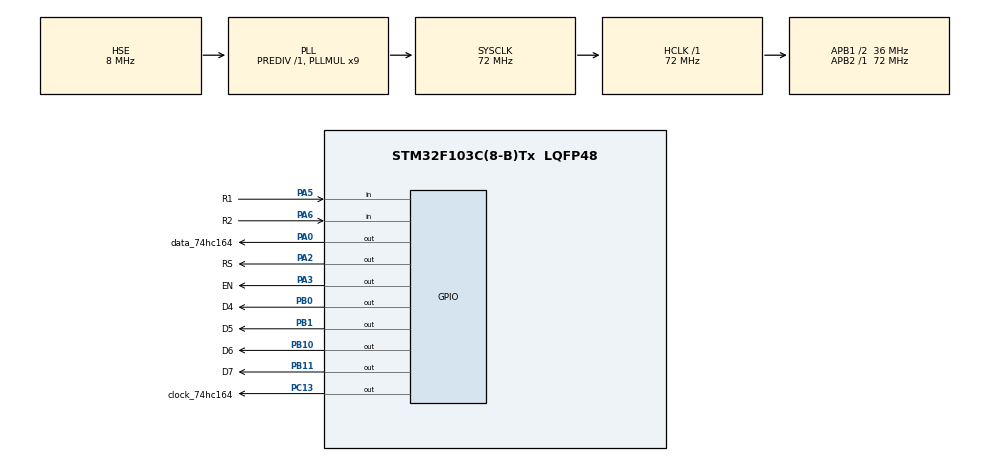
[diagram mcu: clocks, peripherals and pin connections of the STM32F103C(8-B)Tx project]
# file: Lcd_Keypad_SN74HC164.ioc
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Mcu.Family=STM32F1
Mcu.Name=STM32F103C(8-B)Tx
Mcu.Package=LQFP48
NVIC.PriorityGroup=NVIC_PRIORITYGROUP_4
PA0-WKUP.GPIO_Label=data_74hc164
PA0-WKUP.Signal=GPIO_Output
PA13.Mode=Serial_Wire
PA13.Signal=SYS_JTMS-SWDIO
PA14.Mode=Serial_Wire
PA14.Signal=SYS_JTCK-SWCLK
PA2.GPIO_Label=RS
PA2.Signal=GPIO_Output
PA3.GPIO_Label=EN
PA3.Signal=GPIO_Output
PA5.GPIO_Label=R1
PA5.GPIO_Mode=GPIO_MODE_INPUT
PA5.GPIO_PuPd=GPIO_PULLUP
PA5.Signal=GPIO_Input
PA6.GPIO_Label=R2
PA6.GPIO_Mode=GPIO_MODE_INPUT
PA6.GPIO_PuPd=GPIO_PULLUP
PA6.Signal=GPIO_Input
PB0.GPIO_Label=D4
PB0.Signal=GPIO_Output
PB1.GPIO_Label=D5
PB1.Signal=GPIO_Output
PB10.GPIO_Label=D6
PB10.Signal=GPIO_Output
PB11.GPIO_Label=D7
PB11.Signal=GPIO_Output
PC13-TAMPER-RTC.GPIO_Label=clock_74hc164
PC13-TAMPER-RTC.Signal=GPIO_Output
PD0-OSC_IN.Mode=HSE-External-Oscillator
PD0-OSC_IN.Signal=RCC_OSC_IN
PD1-OSC_OUT.Mode=HSE-External-Oscillator
PD1-OSC_OUT.Signal=RCC_OSC_OUT
ProjectManager.HeapSize=0x200
ProjectManager.StackSize=0x400
ProjectManager.TargetToolchain=MDK-ARM V5
RCC.AHBFreq_Value=72000000
RCC.APB1CLKDivider=RCC_HCLK_DIV2
RCC.APB1Freq_Value=36000000
RCC.APB1TimFreq_Value=72000000
RCC.APB2Freq_Value=72000000
RCC.APB2TimFreq_Value=72000000
RCC.HCLKFreq_Value=72000000
RCC.PLLMUL=RCC_PLL_MUL9
RCC.PLLSourceVirtual=RCC_PLLSOURCE_HSE
RCC.SYSCLKFreq_VALUE=72000000
RCC.SYSCLKSource=RCC_SYSCLKSOURCE_PLLCLK
RCC.USBFreq_Value=72000000
board=Lcd_Keypad_SN74HC164

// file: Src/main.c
/**
  ******************************************************************************
  * @file           : main.c
  * @brief          : Main program body
  ******************************************************************************
  ** This notice applies to any and all portions of this file
  * that are not between comment pairs USER CODE BEGIN and
  * USER CODE END. Other portions of this file, whether
  * inserted by the user or by software development tools
  * are owned by their respective copyright owners.
  *
  * COPYRIGHT(c) 2020 STMicroelectronics
  *
  * Redistribution and use in source and binary forms, with or without modification,
  * are permitted provided that the following conditions are met:
  *   1. Redistributions of source code must retain the above copyright notice,
  *      this list of conditions and the following disclaimer.
  *   2. Redistributions in binary form must reproduce the above copyright notice,
  *      this list of conditions and the following disclaimer in the documentation
  *      and/or other materials provided with the distribution.
  *   3. Neither the name of STMicroelectronics nor the names of its contributors
  *      may be used to endorse or promote products derived from this software
  *      without specific prior written permission.
  *
  * THIS SOFTWARE IS PROVIDED BY THE COPYRIGHT HOLDERS AND CONTRIBUTORS "AS IS"
  * AND ANY EXPRESS OR IMPLIED WARRANTIES, INCLUDING, BUT NOT LIMITED TO, THE
  * IMPLIED WARRANTIES OF MERCHANTABILITY AND FITNESS FOR A PARTICULAR PURPOSE ARE
  * DISCLAIMED. IN NO EVENT SHALL THE COPYRIGHT HOLDER OR CONTRIBUTORS BE LIABLE
  * FOR ANY DIRECT, INDIRECT, INCIDENTAL, SPECIAL, EXEMPLARY, OR CONSEQUENTIAL
  * DAMAGES (INCLUDING, BUT NOT LIMITED TO, PROCUREMENT OF SUBSTITUTE GOODS OR
  * SERVICES; LOSS OF USE, DATA, OR PROFITS; OR BUSINESS INTERRUPTION) HOWEVER
  * CAUSED AND ON ANY THEORY OF LIABILITY, WHETHER IN CONTRACT, STRICT LIABILITY,
  * OR TORT (INCLUDING NEGLIGENCE OR OTHERWISE) ARISING IN ANY WAY OUT OF THE USE
  * OF THIS SOFTWARE, EVEN IF ADVISED OF THE POSSIBILITY OF SUCH DAMAGE.
  *
  ******************************************************************************
  */
#include "main.h"
#include "stm32f1xx_hal.h"

/* USER CODE BEGIN Includes */
#include "lcd.h"
#include "dwt_delay.h"
/* USER CODE END Includes */

/* USER CODE BEGIN PV */
/* Private variables ---------------------------------------------------------*/
Lcd_PortType ports[] = {D4_GPIO_Port, D5_GPIO_Port, D6_GPIO_Port, D7_GPIO_Port};
Lcd_PinType pins[] = {D4_Pin, D5_Pin, D6_Pin, D7_Pin};
Lcd_HandleTypeDef lcd;

enum BIT
{
	LOW,
	HIGH
};
uint8_t lcd_col = 1,lcd_row = 1;
uint8_t key,key_last;
char key_str[2];
/* USER CODE END PV */

void SystemClock_Config(void);
static void MX_GPIO_Init(void);

/* USER CODE BEGIN PFP */
/* Private function prototypes -----------------------------------------------*/

/* USER CODE END PFP */

/* USER CODE BEGIN 0 */
void ShiftBit(enum BIT bit)
{
	HAL_GPIO_WritePin(data_74hc164_GPIO_Port,data_74hc164_Pin,(GPIO_PinState)bit);
	DWT_Delay(5);
	HAL_GPIO_WritePin(clock_74hc164_GPIO_Port,clock_74hc164_Pin,1);
	DWT_Delay(5);
	HAL_GPIO_WritePin(clock_74hc164_GPIO_Port,clock_74hc164_Pin,0);
	DWT_Delay(5);
}
void ShiftByte(uint8_t byte)
{
	uint8_t i,bit;
	for(i = 7;i!=255;i--)
	{
		bit = byte & (1<<i);
		if(bit)
			ShiftBit(1);
		else
			ShiftBit(0);
	}
}
uint8_t GetKeyPad()
{
	ShiftByte(0xff);

	ShiftBit(0);
	if(HAL_GPIO_ReadPin(R1_GPIO_Port,R1_Pin) == 0)
	{
		while(!HAL_GPIO_ReadPin(R1_GPIO_Port,R1_Pin));
		return '1';
	}
	if(HAL_GPIO_ReadPin(R2_GPIO_Port,R2_Pin) == 0)
	{
		while(!HAL_GPIO_ReadPin(R2_GPIO_Port,R2_Pin));
		return '7';
	}

	ShiftBit(1);
	if(HAL_GPIO_ReadPin(R1_GPIO_Port,R1_Pin) == 0)
	{
		while(!HAL_GPIO_ReadPin(R1_GPIO_Port,R1_Pin));
		return '2';
	}
	if(HAL_GPIO_ReadPin(R2_GPIO_Port,R2_Pin) == 0)
	{
		while(!HAL_GPIO_ReadPin(R2_GPIO_Port,R2_Pin));
		return '8';
	}

	ShiftBit(1);
	if(HAL_GPIO_ReadPin(R1_GPIO_Port,R1_Pin) == 0)
	{
		while(!HAL_GPIO_ReadPin(R1_GPIO_Port,R1_Pin));
		return '3';
	}
	if(HAL_GPIO_ReadPin(R2_GPIO_Port,R2_Pin) == 0)
	{
		while(!HAL_GPIO_ReadPin(R2_GPIO_Port,R2_Pin));
		return '9';
	}

	ShiftBit(1);
	if(HAL_GPIO_ReadPin(R1_GPIO_Port,R1_Pin) == 0)
	{
		while(!HAL_GPIO_ReadPin(R1_GPIO_Port,R1_Pin));
		return 'X';
	}
	if(HAL_GPIO_ReadPin(R2_GPIO_Port,R2_Pin) == 0)
	{
		while(!HAL_GPIO_ReadPin(R2_GPIO_Port,R2_Pin));
		return 'v';
	}

	ShiftBit(1);
	if(HAL_GPIO_ReadPin(R1_GPIO_Port,R1_Pin) == 0)
	{
		while(!HAL_GPIO_ReadPin(R1_GPIO_Port,R1_Pin));
		return '4';
	}
	if(HAL_GPIO_ReadPin(R2_GPIO_Port,R2_Pin) == 0)
	{
		while(!HAL_GPIO_ReadPin(R2_GPIO_Port,R2_Pin));
		return '<';
	}

	ShiftBit(1);
	if(HAL_GPIO_ReadPin(R1_GPIO_Port,R1_Pin) == 0)
	{
		while(!HAL_GPIO_ReadPin(R1_GPIO_Port,R1_Pin));
		return '5';
	}
	if(HAL_GPIO_ReadPin(R2_GPIO_Port,R2_Pin) == 0)
	{
		while(!HAL_GPIO_ReadPin(R2_GPIO_Port,R2_Pin));
		return '0';
	}

	ShiftBit(1);
	if(HAL_GPIO_ReadPin(R1_GPIO_Port,R1_Pin) == 0)
	{
		while(!HAL_GPIO_ReadPin(R1_GPIO_Port,R1_Pin));
		return '6';
	}
	if(HAL_GPIO_ReadPin(R2_GPIO_Port,R2_Pin) == 0)
	{
		while(!HAL_GPIO_ReadPin(R2_GPIO_Port,R2_Pin));
		return '>';
	}

	ShiftBit(1);
	if(HAL_GPIO_ReadPin(R1_GPIO_Port,R1_Pin) == 0)
	{
		while(!HAL_GPIO_ReadPin(R1_GPIO_Port,R1_Pin));
		return '^';
	}
	if(HAL_GPIO_ReadPin(R2_GPIO_Port,R2_Pin) == 0)
	{
		while(!HAL_GPIO_ReadPin(R2_GPIO_Port,R2_Pin));
		return 'O';
	}

	return 1;
}
/* USER CODE END 0 */

int main(void)
{

  /* MCU Configuration----------------------------------------------------------*/

  /* Reset of all peripherals, Initializes the Flash interface and the Systick. */
  HAL_Init();

  /* Configure the system clock */
  SystemClock_Config();

  /* Initialize all configured peripherals */
  MX_GPIO_Init();
  /* USER CODE BEGIN 2 */
	lcd = Lcd_create(ports, pins, RS_GPIO_Port, RS_Pin, EN_GPIO_Port, EN_Pin, LCD_4_BIT_MODE);
	Lcd_clear(&lcd);
	DWT_Init();
  /* USER CODE END 2 */

  /* Infinite loop */
  /* USER CODE BEGIN WHILE */
  while (1)
  {
		key = GetKeyPad();
		if(key != 1)
		{
			key_last = key;
			Lcd_cursor(&lcd,lcd_row,lcd_col);
			sprintf(key_str,"%c",(char)key);
			Lcd_string(&lcd,key_str);
			lcd_col++;
			if(lcd_col == 17)
			{
				lcd_col = 1;
				lcd_row++;
				if(lcd_row == 3)
					lcd_row = 1;
			}
		}
  /* USER CODE END WHILE */

  }

}

void SystemClock_Config(void)
{

  RCC_OscInitTypeDef RCC_OscInitStruct;
  RCC_ClkInitTypeDef RCC_ClkInitStruct;

    /**Initializes the CPU, AHB and APB busses clocks
    */
  RCC_OscInitStruct.OscillatorType = RCC_OSCILLATORTYPE_HSE;
  RCC_OscInitStruct.HSEState = RCC_HSE_ON;
  RCC_OscInitStruct.HSEPredivValue = RCC_HSE_PREDIV_DIV1;
  RCC_OscInitStruct.HSIState = RCC_HSI_ON;
  RCC_OscInitStruct.PLL.PLLState = RCC_PLL_ON;
  RCC_OscInitStruct.PLL.PLLSource = RCC_PLLSOURCE_HSE;
  RCC_OscInitStruct.PLL.PLLMUL = RCC_PLL_MUL9;
  if (HAL_RCC_OscConfig(&RCC_OscInitStruct) != HAL_OK)
  {
    _Error_Handler(__FILE__, __LINE__);
  }

    /**Initializes the CPU, AHB and APB busses clocks
    */
  RCC_ClkInitStruct.ClockType = RCC_CLOCKTYPE_HCLK|RCC_CLOCKTYPE_SYSCLK
                              |RCC_CLOCKTYPE_PCLK1|RCC_CLOCKTYPE_PCLK2;
  RCC_ClkInitStruct.SYSCLKSource = RCC_SYSCLKSOURCE_PLLCLK;
  RCC_ClkInitStruct.AHBCLKDivider = RCC_SYSCLK_DIV1;
  RCC_ClkInitStruct.APB1CLKDivider = RCC_HCLK_DIV2;
  RCC_ClkInitStruct.APB2CLKDivider = RCC_HCLK_DIV1;

  if (HAL_RCC_ClockConfig(&RCC_ClkInitStruct, FLASH_LATENCY_2) != HAL_OK)
  {
    _Error_Handler(__FILE__, __LINE__);
  }

    /**Configure the Systick interrupt time
    */
  HAL_SYSTICK_Config(HAL_RCC_GetHCLKFreq()/1000);

    /**Configure the Systick
    */
  HAL_SYSTICK_CLKSourceConfig(SYSTICK_CLKSOURCE_HCLK);

  /* SysTick_IRQn interrupt configuration */
  HAL_NVIC_SetPriority(SysTick_IRQn, 0, 0);
}

/** Configure pins as
        * Analog
        * Input
        * Output
        * EVENT_OUT
        * EXTI
*/
static void MX_GPIO_Init(void)
{

  GPIO_InitTypeDef GPIO_InitStruct;

  /* GPIO Ports Clock Enable */
  __HAL_RCC_GPIOC_CLK_ENABLE();
  __HAL_RCC_GPIOD_CLK_ENABLE();
  __HAL_RCC_GPIOA_CLK_ENABLE();
  __HAL_RCC_GPIOB_CLK_ENABLE();

  /*Configure GPIO pin Output Level */
  HAL_GPIO_WritePin(clock_74hc164_GPIO_Port, clock_74hc164_Pin, GPIO_PIN_RESET);

  /*Configure GPIO pin Output Level */
  HAL_GPIO_WritePin(GPIOA, data_74hc164_Pin|RS_Pin|EN_Pin, GPIO_PIN_RESET);

  /*Configure GPIO pin Output Level */
  HAL_GPIO_WritePin(GPIOB, D4_Pin|D5_Pin|D6_Pin|D7_Pin, GPIO_PIN_RESET);

  /*Configure GPIO pin : clock_74hc164_Pin */
  GPIO_InitStruct.Pin = clock_74hc164_Pin;
  GPIO_InitStruct.Mode = GPIO_MODE_OUTPUT_PP;
  GPIO_InitStruct.Speed = GPIO_SPEED_FREQ_LOW;
  HAL_GPIO_Init(clock_74hc164_GPIO_Port, &GPIO_InitStruct);

  /*Configure GPIO pins : data_74hc164_Pin RS_Pin EN_Pin */
  GPIO_InitStruct.Pin = data_74hc164_Pin|RS_Pin|EN_Pin;
  GPIO_InitStruct.Mode = GPIO_MODE_OUTPUT_PP;
  GPIO_InitStruct.Speed = GPIO_SPEED_FREQ_LOW;
  HAL_GPIO_Init(GPIOA, &GPIO_InitStruct);

  /*Configure GPIO pins : R1_Pin R2_Pin */
  GPIO_InitStruct.Pin = R1_Pin|R2_Pin;
  GPIO_InitStruct.Mode = GPIO_MODE_INPUT;
  GPIO_InitStruct.Pull = GPIO_PULLUP;
  HAL_GPIO_Init(GPIOA, &GPIO_InitStruct);

  /*Configure GPIO pins : D4_Pin D5_Pin D6_Pin D7_Pin */
  GPIO_InitStruct.Pin = D4_Pin|D5_Pin|D6_Pin|D7_Pin;
  GPIO_InitStruct.Mode = GPIO_MODE_OUTPUT_PP;
  GPIO_InitStruct.Speed = GPIO_SPEED_FREQ_LOW;
  HAL_GPIO_Init(GPIOB, &GPIO_InitStruct);

}

void _Error_Handler(char *file, int line)
{
  while(1)
  {
  }
}

/************************ (C) COPYRIGHT STMicroelectronics *****END OF FILE****/
